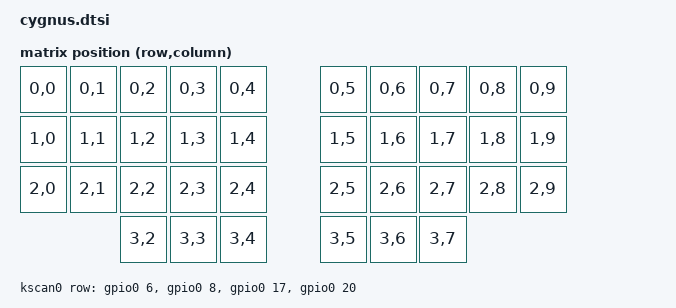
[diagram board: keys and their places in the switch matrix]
#include <dt-bindings/zmk/matrix_transform.h> // Put this with the other includes at the top of your dtsi

/ {
    key_physical_attrs: key_physical_attrs {
        compatible = "zmk,physical-layout-position";
    };

    kscan0: kscan0 {
        compatible = "zmk,kscan-gpio-matrix";
        diode-direction = "col2row";
        wakeup-source;

        row-gpios
            = <&gpio0 6 (GPIO_ACTIVE_HIGH | GPIO_PULL_DOWN)>
            , <&gpio0 8 (GPIO_ACTIVE_HIGH | GPIO_PULL_DOWN)>
            , <&gpio0 17 (GPIO_ACTIVE_HIGH | GPIO_PULL_DOWN)>
            , <&gpio0 20 (GPIO_ACTIVE_HIGH | GPIO_PULL_DOWN)>
            ;

    };

    default_transform: keymap_transform0 {
        compatible = "zmk,matrix-transform";
        columns = <10>;
        rows = <4>;
        map = <
        //  LKey 1 |LKey 2 |LKey 3 |LKey 4 |LKey 5      RKey 1 |RKey 2 |RKey 3 |RKey 4 |RKey 5
            RC(0,0) RC(0,1) RC(0,2) RC(0,3) RC(0,4)     RC(0,5) RC(0,6) RC(0,7) RC(0,8) RC(0,9)
        //  LKey 6 |LKey 7 |LKey 8 |LKey 9 |LKey 10     RKey 6 |RKey 7 |RKey 8 |RKey 9 |RKey 10
            RC(1,0) RC(1,1) RC(1,2) RC(1,3) RC(1,4)     RC(1,5) RC(1,6) RC(1,7) RC(1,8) RC(1,9)
        //  LKey 11|LKey 12|LKey 13|LKey 14|LKey 15     RKey 11|RKey 12|RKey 13|RKey 14|RKey 15
            RC(2,0) RC(2,1) RC(2,2) RC(2,3) RC(2,4)     RC(2,5) RC(2,6) RC(2,7) RC(2,8) RC(2,9)
        //                  LKey 18|LKey 19|LKey 20     RKey 16|RKey 17|RKey 18
                            RC(3,2) RC(3,3) RC(3,4)     RC(3,5) RC(3,6) RC(3,7)
        >;
    };

    physical_layout0: physical_layout_0 { // First physical layout, use different naming for other layouts
        compatible = "zmk,physical-layout";
        display-name = "Default Layout";
        kscan = <&kscan0>; // Label of the kscan node, optional if all layouts use the same
        transform = <&default_transform>;
        keys  //                     w   h    x    y     rot   rx   ry
           = <&key_physical_attrs 100 100    0    0       0    0    0>
           , <&key_physical_attrs 100 100  100    0       0    0    0>
           , <&key_physical_attrs 100 100  200    0       0    0    0>
           , <&key_physical_attrs 100 100  300    0       0    0    0>
           , <&key_physical_attrs 100 100  400    0       0    0    0>
           , <&key_physical_attrs 100 100  600    0       0    0    0>
           , <&key_physical_attrs 100 100  700    0       0    0    0>
           , <&key_physical_attrs 100 100  800    0       0    0    0>
           , <&key_physical_attrs 100 100  900    0       0    0    0>
           , <&key_physical_attrs 100 100 1000    0       0    0    0>
           , <&key_physical_attrs 100 100    0  100       0    0    0>
           , <&key_physical_attrs 100 100  100  100       0    0    0>
           , <&key_physical_attrs 100 100  200  100       0    0    0>
           , <&key_physical_attrs 100 100  300  100       0    0    0>
           , <&key_physical_attrs 100 100  400  100       0    0    0>
           , <&key_physical_attrs 100 100  600  100       0    0    0>
           , <&key_physical_attrs 100 100  700  100       0    0    0>
           , <&key_physical_attrs 100 100  800  100       0    0    0>
           , <&key_physical_attrs 100 100  900  100       0    0    0>
           , <&key_physical_attrs 100 100 1000  100       0    0    0>
           , <&key_physical_attrs 100 100    0  200       0    0    0>
           , <&key_physical_attrs 100 100  100  200       0    0    0>
           , <&key_physical_attrs 100 100  200  200       0    0    0>
           , <&key_physical_attrs 100 100  300  200       0    0    0>
           , <&key_physical_attrs 100 100  400  200       0    0    0>
           , <&key_physical_attrs 100 100  600  200       0    0    0>
           , <&key_physical_attrs 100 100  700  200       0    0    0>
           , <&key_physical_attrs 100 100  800  200       0    0    0>
           , <&key_physical_attrs 100 100  900  200       0    0    0>
           , <&key_physical_attrs 100 100 1000  200       0    0    0>
           , <&key_physical_attrs 100 100  200  300       0    0    0>
           , <&key_physical_attrs 100 100  300  300       0    0    0>
           , <&key_physical_attrs 100 100  400  300       0    0    0>
           , <&key_physical_attrs 100 100  600  300       0    0    0>
           , <&key_physical_attrs 100 100  700  300       0    0    0>
           , <&key_physical_attrs 100 100  800  300       0    0    0>
           ;
    };

    chosen {
        zmk,kscan = &kscan0;
        zmk,physical-layout = &physical_layout0;
    };
};
